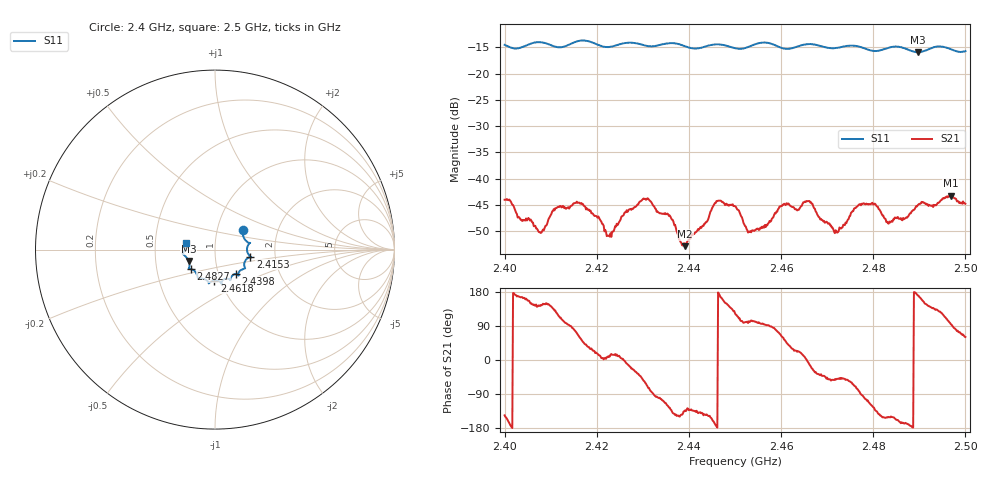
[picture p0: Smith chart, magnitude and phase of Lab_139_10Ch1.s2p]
# Hz S RI R 50
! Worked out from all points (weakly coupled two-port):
!   601 points, 2.4 GHz to 2.5 GHz, reference 50 ohm
!   highest |S21| = -43.22 dB at 2.4968 GHz (marker M1); lowest = -52.8 dB at 2.4392 GHz (marker M2)
!   lowest |S11| = -15.9 dB at 2.4897 GHz (marker M3), VSWR 1.38, Z = 36.9 - j4.83 ohm
!   |S11| at or under -10 dB: start of sweep to end of sweep
!   S12 and S22 are empty: the file has one direction only
!   S11 on the Smith chart (normalised r, x): 2.4 GHz: 1.33, +0.29; 2.4153 GHz: 1.48, -0.12; 2.4398 GHz: 1.21, -0.34; 2.4618 GHz: 0.94, -0.33; 2.4827 GHz: 0.75, -0.17; 2.5 GHz: 0.72, +0.06
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2.4e9  0.1552 0.1065  -0.00523 -0.00352  0 0  0 0
2.407667e9  0.196 0.0377  -0.00246 0.0019  0 0  0 0
2.410833e9  0.181 0.0168  -0.00326 0.0038  0 0  0 0
2.415333e9  0.1966 -0.0392  0.00137 0.00573  0 0  0 0
2.416667e9  0.2024 -0.0434  0.00348 0.00473  0 0  0 0
2.422667e9  0.1642 -0.0727  0.00285 0.000407  0 0  0 0
2.43e9  0.1527 -0.1099  0.004 -0.00501  0 0  0 0
2.433333e9  0.1297 -0.1338  -0.0008 -0.00474  0 0  0 0
2.439167e9  0.1214 -0.1361  -0.00155 -0.00167  0 0  0 0
2.439833e9  0.1156 -0.1355  -0.00164 -0.00202  0 0  0 0
2.446e9  0.0845 -0.1706  -0.00612 -0.000499  0 0  0 0
2.45e9  0.0656 -0.1623  -0.00299 0.00458  0 0  0 0
2.453333e9  0.0374 -0.1791  -0.000655 0.0031  0 0  0 0
2.461833e9  -0.00359 -0.1729  0.00444 0.00343  0 0  0 0
2.466667e9  -0.0348 -0.188  0.00537 -0.00217  0 0  0 0
2.472e9  -0.0703 -0.1612  0.00203 -0.00245  0 0  0 0
2.4775e9  -0.0977 -0.1489  -0.000239 -0.00578  0 0  0 0
2.482667e9  -0.1348 -0.1085  -0.00369 -0.0019  0 0  0 0
2.483333e9  -0.1399 -0.1082  -0.00324 -0.00186  0 0  0 0
2.489667e9  -0.1468 -0.0637  -0.00554 0.000932  0 0  0 0
2.496833e9  -0.1712 -0.00912  -0.000545 0.00688  0 0  0 0
2.5e9  -0.1596 0.0384  0.00284 0.00504  0 0  0 0
